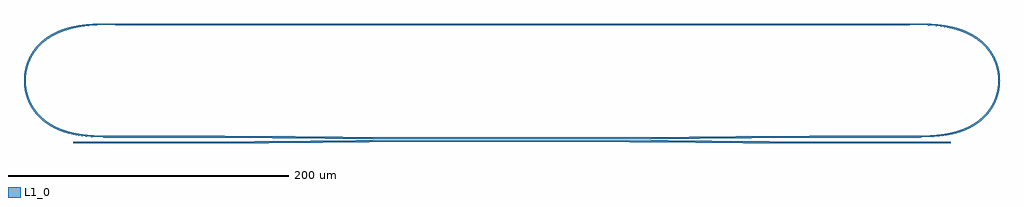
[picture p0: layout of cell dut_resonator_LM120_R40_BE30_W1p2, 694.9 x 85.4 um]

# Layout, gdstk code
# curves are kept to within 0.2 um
from math import pi, radians
import gdstk
lib = gdstk.Library(unit=1e-6, precision=1e-09)
def R(c, l, rs):  # rectangles x0, y0, x1, y1
    for r in rs: c.add(gdstk.rectangle(r[:2], r[2:], *l))
def P(c, l, *ps):  # polygons
    for p in ps: c.add(gdstk.Polygon(p, *l))
L1_0 = (1, 0)

faquad_combiner_k00p05_g = lib.new_cell('faquad_combiner_K00p05_G00p4_DD0p2_LM120_TMD1_WT1p2_NP6_650539e0')
P(faquad_combiner_k00p05_g, L1_0, [(535.878,-2.704),(470.891,-2.542),(369.18,-1.662),(210.961,-1.573),(179.886,-1.664),(87.59,-2.545),(0,-2.7),(0,-1.5),(88.525,-1.357),(195.891,-0.425),(367.3,-0.42),(476.549,-1.357),(565.074,-1.5),(565.074,-2.7)],
  [(215.669,0.4),(179.877,0.503),(86.641,1.367),(0,1.5),(0,2.7),(87.59,2.579),(196.836,1.659),(354.113,1.573),(385.188,1.664),(477.484,2.545),(565.074,2.7),(565.074,1.5),(476.549,1.357),(369.183,0.425)])

bend_euler_gdsfactorypco = lib.new_cell('bend_euler_gdsfactorypcomponentspbendspbend_euler_R40_A_950d9113')
P(bend_euler_gdsfactorypco, L1_0, [(0,-0.6),(0,0.6),(9.787,0.675),(17.315,1.019),(23.605,1.666),(29.487,2.694),(34.108,3.872),(38.771,5.477),(42.801,7.282),(46.779,9.549),(50.613,12.338),(53.951,15.452),(56.866,18.962),(59.229,22.667),(61.183,26.791),(62.595,31.13),(63.422,35.446),(63.713,40),(63.422,44.554),(62.595,48.87),(61.183,53.209),(59.229,57.333),(56.866,61.038),(53.951,64.548),(50.613,67.662),(46.779,70.451),(42.801,72.718),(38.771,74.523),(34.108,76.128),(29.487,77.306),(23.605,78.334),(17.315,78.981),(9.787,79.325),(0,79.4),(0,80.6),(9.298,80.536),(16.713,80.226),(23.081,79.614),(28.892,78.657),(34.615,77.229),(39.536,75.51),(44.269,73.309),(48.301,70.885),(51.241,68.699),(54.092,66.124),(56.443,63.539),(58.638,60.598),(60.53,57.454),(62.101,54.138),(63.335,50.683),(64.186,47.293),(64.731,43.665),(64.913,40),(64.731,36.335),(64.186,32.707),(63.335,29.317),(62.101,25.862),(60.53,22.546),(58.638,19.402),(56.775,16.868),(54.582,14.375),(52.307,12.204),(49.584,10.019),(46.837,8.167),(43.652,6.368),(40.18,4.755),(36.766,3.46),(33.112,2.342),(29.232,1.413),(21.019,0.144),(12.057,-0.46)])

straight_gdsfactorypcomp = lib.new_cell('straight_gdsfactorypcomponentspwaveguidespstraight_L565_370be0be')
R(straight_gdsfactorypcomp, L1_0, [(0,-0.6,565.074,0.6)])

c_straight_gdsfactorypcomp = lib.new_cell('straight_gdsfactorypcomponentspwaveguidespstraight_L30__6c896cef')
R(c_straight_gdsfactorypcomp, L1_0, [(0,-0.6,30,0.6)])

dut_resonator_lm120_r40_ = lib.new_cell('dut_resonator_LM120_R40_BE30_W1p2')
dut_resonator_lm120_r40_.add(gdstk.Reference(faquad_combiner_k00p05_g, (0,0)))
dut_resonator_lm120_r40_.add(gdstk.Reference(bend_euler_gdsfactorypco, (565.074,2.1)))
dut_resonator_lm120_r40_.add(gdstk.Reference(straight_gdsfactorypcomp, (565.074,82.1), rotation=pi))
dut_resonator_lm120_r40_.add(gdstk.Reference(bend_euler_gdsfactorypco, (0,82.1), rotation=pi))
dut_resonator_lm120_r40_.add(gdstk.Reference(c_straight_gdsfactorypcomp, (-30,-2.1)))
dut_resonator_lm120_r40_.add(gdstk.Reference(c_straight_gdsfactorypcomp, (565.074,-2.1)))

lib.write_gds('dut_resonator_LM120_R40_BE30_W1p2.gds')
